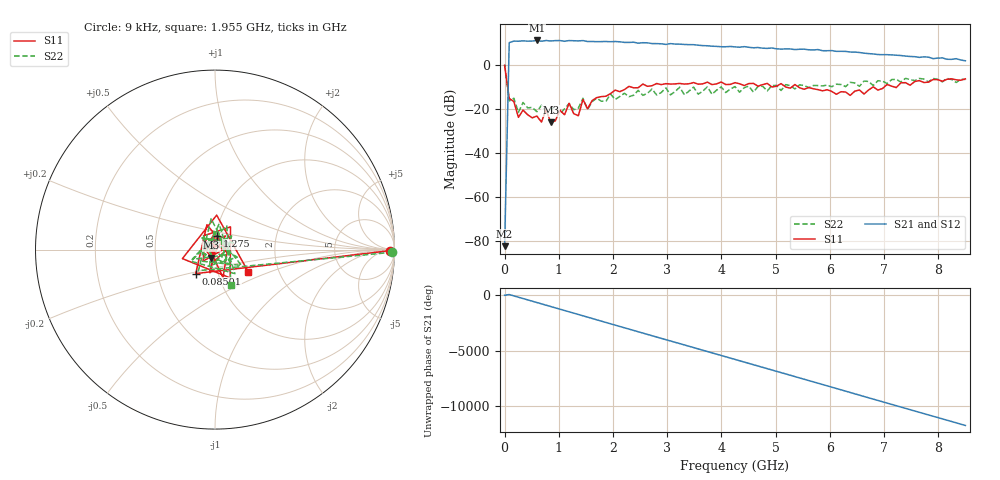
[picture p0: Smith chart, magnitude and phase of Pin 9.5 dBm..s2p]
! RsaToolbox (C) 2013 Rohde & Schwarz America
! Number of points: 101
! Number of ports: 2
! Balanced ports?: 0
# Hz S RI R 50
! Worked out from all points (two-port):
!   101 points, 9 kHz to 8.5 GHz, reference 50 ohm
!   highest |S21| = 11.03 dB at 595 MHz (marker M1); lowest = -82.5 dB at 9 kHz (marker M2)
!   |S21| within 3 dB of the highest: 83.16 MHz to 4.295 GHz (4.212 GHz wide, 192 % of centre); 4.356 GHz to 4.475 GHz (119 MHz wide, 2.7 % of centre)
!   lowest |S11| = -26.2 dB at 850 MHz (marker M3), VSWR 1.10, Z = 47.9 - j4.31 ohm
!   |S11| at or under -10 dB: 55.04 MHz to 2.285 GHz (2.23 GHz wide, 191 % of centre); 2.316 GHz to 2.488 GHz (171.9 MHz wide, 7.16 % of centre); 5.413 GHz to 7.008 GHz (1.595 GHz wide, 25.7 % of centre) (the widest 3 of 6)
!   |S22| runs from -22.3 to -0.1 dB; largest |S21 - S12| = 0
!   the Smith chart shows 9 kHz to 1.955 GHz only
!   S11 on the Smith chart (normalised r, x): 9 kHz: 70, -16; 85.01 MHz: 0.78, -0.21; 1.275 GHz: 1.01, +0.16; 1.955 GHz: 1.40, -0.36
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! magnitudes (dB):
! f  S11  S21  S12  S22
! 9 kHz  -0.2  -82.5  -82.5  -0.1
! 85.01 MHz  -15.3  10.0  10.0  -16.5
! 170 MHz  -16.7  10.7  10.7  -15.2
! 255 MHz  -23.9  10.7  10.7  -21.7
! 340 MHz  -20.6  10.9  10.9  -17.2
! 595 MHz  -23.3  11.0  11.0  -21.4
! 680 MHz  -26.1  10.7  10.7  -18.4
! 765 MHz  -20.4  11.0  11.0  -21.3
! 850 MHz  -26.2  10.8  10.8  -20.2
! 1.02 GHz  -20.7  11.0  11.0  -22.3
! 1.19 GHz  -17.6  11.0  11.0  -17.6
! 1.275 GHz  -22.2  10.9  10.9  -20.5
! 1.36 GHz  -23.2  10.8  10.8  -19.8
! 1.445 GHz  -15.8  11.0  11.0  -15.3
! 1.53 GHz  -20.0  10.6  10.6  -20.4
! 1.955 GHz  -13.1  10.5  10.5  -13.4
! 2.89 GHz  -9.0  9.5  9.5  -12.6
! 4.25 GHz  -8.2  8.1  8.1  -9.9
! 5.695 GHz  -10.9  6.7  6.7  -9.4
! 6.375 GHz  -13.9  5.8  5.8  -8.0
! 7.14 GHz  -9.7  4.5  4.5  -6.7
! 8.5 GHz  -6.4  1.8  1.8  -6.7
